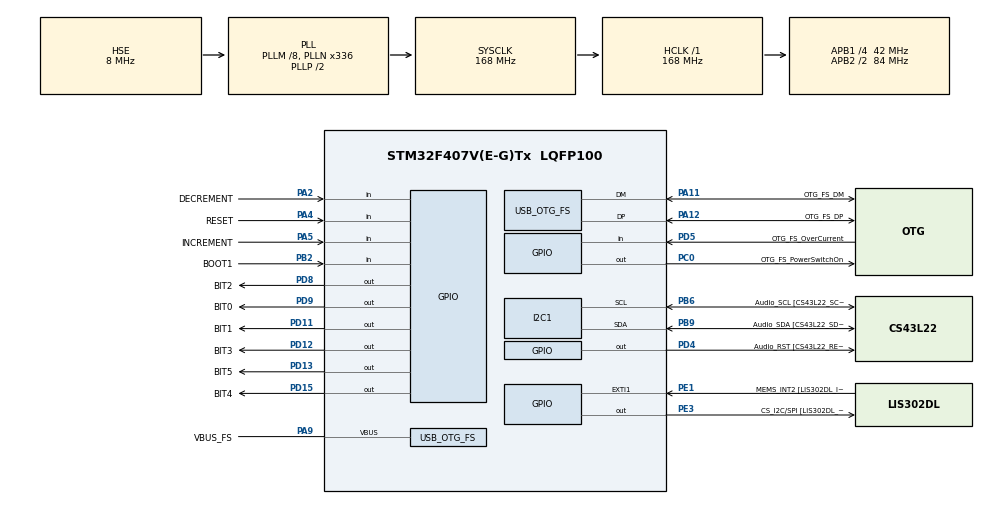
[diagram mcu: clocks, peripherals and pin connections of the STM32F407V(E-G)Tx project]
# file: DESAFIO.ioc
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Mcu.Family=STM32F4
Mcu.Name=STM32F407V(E-G)Tx
Mcu.Package=LQFP100
NVIC.OTG_FS_IRQn=true\:0\:0\:false\:false\:true\:true\:true\:true
NVIC.PriorityGroup=NVIC_PRIORITYGROUP_0
PA10.GPIO_Label=OTG_FS_ID
PA10.GPIO_Mode=GPIO_MODE_AF_PP
PA10.GPIO_PuPd=GPIO_NOPULL
PA10.GPIO_Speed=GPIO_SPEED_FREQ_LOW
PA10.Signal=USB_OTG_FS_ID
PA11.GPIO_Label=OTG_FS_DM
PA11.GPIO_Mode=GPIO_MODE_AF_PP
PA11.GPIO_PuPd=GPIO_NOPULL
PA11.GPIO_Speed=GPIO_SPEED_FREQ_LOW
PA11.Mode=Host_Only
PA11.Signal=USB_OTG_FS_DM
PA12.GPIO_Label=OTG_FS_DP
PA12.GPIO_Mode=GPIO_MODE_AF_PP
PA12.GPIO_PuPd=GPIO_NOPULL
PA12.GPIO_Speed=GPIO_SPEED_FREQ_LOW
PA12.Mode=Host_Only
PA12.Signal=USB_OTG_FS_DP
PA13.GPIO_Label=SWDIO
PA13.Mode=Serial_Wire
PA13.Signal=SYS_JTMS-SWDIO
PA14.GPIO_Label=SWCLK
PA14.Mode=Serial_Wire
PA14.Signal=SYS_JTCK-SWCLK
PA2.GPIO_Label=DECREMENT
PA2.Signal=GPIO_Input
PA4.GPIO_Label=RESET
PA4.Signal=GPIO_Input
PA5.GPIO_Label=INCREMENT
PA5.Signal=GPIO_Input
PA9.GPIO_Label=VBUS_FS
PA9.GPIO_Mode=GPIO_MODE_INPUT
PA9.GPIO_PuPd=GPIO_NOPULL
PA9.Mode=Activate_VBUS
PA9.Signal=USB_OTG_FS_VBUS
PB10.GPIO_Label=CLK_IN [MP45DT02_CLK]
PB10.GPIO_Mode=GPIO_MODE_AF_PP
PB10.GPIO_PuPd=GPIO_NOPULL
PB10.GPIO_Speed=GPIO_SPEED_FREQ_LOW
PB10.Signal=I2S2_CK
PB2.GPIO_Label=BOOT1
PB2.GPIO_Mode=GPIO_MODE_INPUT
PB2.GPIO_PuPd=GPIO_NOPULL
PB2.Signal=GPIO_Input
PB3.GPIO_Label=SWO
PB3.Signal=SYS_JTDO-SWO
PB6.GPIO_Label=Audio_SCL [CS43L22_SCL]
PB6.GPIO_Mode=GPIO_MODE_AF_OD
PB6.GPIO_Pu=GPIO_PULLUP
PB6.GPIO_PuPd=GPIO_NOPULL
PB6.GPIO_Speed=GPIO_SPEED_FREQ_LOW
PB6.Mode=I2C
PB6.Signal=I2C1_SCL
PB9.GPIO_Label=Audio_SDA [CS43L22_SDA]
PB9.GPIO_Mode=GPIO_MODE_AF_OD
PB9.GPIO_Pu=GPIO_PULLUP
PB9.GPIO_PuPd=GPIO_NOPULL
PB9.GPIO_Speed=GPIO_SPEED_FREQ_LOW
PB9.Mode=I2C
PB9.Signal=I2C1_SDA
PC0.GPIO_Label=OTG_FS_PowerSwitchOn
PC0.GPIO_PuPd=GPIO_NOPULL
PC0.GPIO_Speed=GPIO_SPEED_FREQ_LOW
PC0.PinState=GPIO_PIN_SET
PC0.Signal=GPIO_Output
PC10.GPIO_Label=I2S3_SCK [CS43L22_SCLK]
PC10.GPIO_Mode=GPIO_MODE_AF_PP
PC10.GPIO_PuPd=GPIO_NOPULL
PC10.GPIO_Speed=GPIO_SPEED_FREQ_LOW
PC10.Signal=I2S3_CK
PC12.GPIO_Label=I2S3_SD [CS43L22_SDIN]
PC12.GPIO_Mode=GPIO_MODE_AF_PP
PC12.GPIO_PuPd=GPIO_NOPULL
PC12.GPIO_Speed=GPIO_SPEED_FREQ_LOW
PC12.Signal=I2S3_SD
PC14-OSC32_IN.GPIO_Label=PC14-OSC32_IN
PC14-OSC32_IN.Mode=LSE-External-Oscillator
PC14-OSC32_IN.Signal=RCC_OSC32_IN
PC15-OSC32_OUT.GPIO_Label=PC15-OSC32_OUT
PC15-OSC32_OUT.Mode=LSE-External-Oscillator
PC15-OSC32_OUT.Signal=RCC_OSC32_OUT
PC3.GPIO_Label=PDM_OUT [MP45DT02_DOUT]
PC3.GPIO_Mode=GPIO_MODE_AF_PP
PC3.GPIO_PuPd=GPIO_NOPULL
PC3.GPIO_Speed=GPIO_SPEED_FREQ_LOW
PC3.Signal=I2S2_SD
PD11.GPIO_Label=BIT1
PD11.Signal=GPIO_Output
PD12.GPIO_Label=BIT3
PD12.GPIO_PuPd=GPIO_NOPULL
PD12.GPIO_Speed=GPIO_SPEED_FREQ_LOW
PD12.Signal=GPIO_Output
PD13.GPIO_Label=BIT5
PD13.Signal=GPIO_Output
PD15.GPIO_Label=BIT4
PD15.GPIO_PuPd=GPIO_NOPULL
PD15.GPIO_Speed=GPIO_SPEED_FREQ_LOW
PD15.Signal=GPIO_Output
PD4.GPIO_Label=Audio_RST [CS43L22_RESET]
PD4.GPIO_PuPd=GPIO_NOPULL
PD4.GPIO_Speed=GPIO_SPEED_FREQ_LOW
PD4.Signal=GPIO_Output
PD5.GPIO_Label=OTG_FS_OverCurrent
PD5.GPIO_Mode=GPIO_MODE_INPUT
PD5.GPIO_PuPd=GPIO_NOPULL
PD5.Signal=GPIO_Input
PD8.GPIO_Label=BIT2
PD8.Signal=GPIO_Output
PD9.GPIO_Label=BIT0
PD9.Signal=GPIO_Output
PE1.GPIO_Label=MEMS_INT2 [LIS302DL_INT2]
PE1.GPIO_ModeDefaultEXTI=GPIO_MODE_EVT_RISING
PE1.GPIO_PuPd=GPIO_NOPULL
PE1.Signal=GPXTI1
PE3.GPIO_Label=CS_I2C/SPI [LIS302DL_CS_I2C/SPI]
PE3.GPIO_PuPd=GPIO_NOPULL
PE3.GPIO_Speed=GPIO_SPEED_FREQ_LOW
PE3.Signal=GPIO_Output
PH0-OSC_IN.GPIO_Label=PH0-OSC_IN
PH0-OSC_IN.Mode=HSE-External-Oscillator
PH0-OSC_IN.Signal=RCC_OSC_IN
PH1-OSC_OUT.GPIO_Label=PH1-OSC_OUT
PH1-OSC_OUT.Mode=HSE-External-Oscillator
PH1-OSC_OUT.Signal=RCC_OSC_OUT
ProjectManager.HeapSize=0x200
ProjectManager.StackSize=0x400
ProjectManager.TargetToolchain=STM32CubeIDE
RCC.48MHZClocksFreq_Value=48000000
RCC.AHBFreq_Value=168000000
RCC.APB1CLKDivider=RCC_HCLK_DIV4
RCC.APB1Freq_Value=42000000
RCC.APB1TimFreq_Value=84000000
RCC.APB2CLKDivider=RCC_HCLK_DIV2
RCC.APB2Freq_Value=84000000
RCC.APB2TimFreq_Value=168000000
RCC.CortexFreq_Value=168000000
RCC.HCLKFreq_Value=168000000
RCC.HSE_VALUE=8000000
RCC.HSI_VALUE=16000000
RCC.PLLM=8
RCC.PLLN=336
RCC.PLLQ=7
RCC.SYSCLKFreq_VALUE=168000000
RCC.SYSCLKSource=RCC_SYSCLKSOURCE_PLLCLK
RCC.VCOOutputFreq_Value=336000000
USB_HOST.BSP.number=1
USB_HOST.USBH_HandleTypeDef-CDC_FS=hUsbHostFS
USB_HOST.VirtualModeFS=Cdc
USB_HOST0.BSP.STBoard=false
USB_HOST0.BSP.api=Unknown
USB_HOST0.BSP.instance=PC0
USB_HOST0.BSP.ip=GPIO
USB_HOST0.BSP.mode=Output
USB_HOST0.BSP.name=Drive_VBUS_FS
USB_HOST0.BSP.solution=PC0
USB_OTG_FS.VirtualMode=Host_Only
USB_OTG_FS.phy_itface=HCD_PHY_EMBEDDED
VP_USB_HOST_VS_USB_HOST_CDC_FS.Mode=CDC_FS
board=STM32F407G-DISC1

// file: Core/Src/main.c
/* USER CODE BEGIN Header */
/**
 ******************************************************************************
 * @file           : main.c
 * @brief          : Main program body
 ******************************************************************************
 * @attention
 *
 * Copyright (c) 2025 STMicroelectronics.
 * All rights reserved.
 *
 * This software is licensed under terms that can be found in the LICENSE file
 * in the root directory of this software component.
 * If no LICENSE file comes with this software, it is provided AS-IS.
 *
 ******************************************************************************
 */
/* USER CODE END Header */
#include "main.h"
#include "usb_host.h"

/* USER CODE BEGIN Includes */
#include <stdbool.h> // variable booleanas
uint8_t counter = 0;
/* USER CODE END Includes */

/* USER CODE BEGIN PD */
#define TREBOTES 20
#define TSONDEO 200
/* USER CODE END PD */

I2C_HandleTypeDef hi2c1;

void SystemClock_Config(void);
static void MX_GPIO_Init(void);
static void MX_I2C1_Init(void);
void MX_USB_HOST_Process(void);

int main(void) {

	/* MCU Configuration--------------------------------------------------------*/

	/* Reset of all peripherals, Initializes the Flash interface and the Systick. */
	HAL_Init();

	/* Configure the system clock */
	SystemClock_Config();

	/* Initialize all configured peripherals */
	MX_GPIO_Init();
	MX_I2C1_Init();
	MX_USB_HOST_Init();

	/* Infinite loop */
	while (1) {
		MX_USB_HOST_Process();

		/* USER CODE BEGIN 3 */
		if (HAL_GPIO_ReadPin(RESET_GPIO_Port, RESET_Pin) == 1) {
			HAL_Delay(TREBOTES);
			if (HAL_GPIO_ReadPin(DECREMENT_GPIO_Port, DECREMENT_Pin) == 0) {
				HAL_Delay(TREBOTES);
				counter = counter - 1;
				if (counter >= 64) {
					counter = 63;
				}
			}
			if (HAL_GPIO_ReadPin(INCREMENT_GPIO_Port, INCREMENT_Pin) == 0) {
				HAL_Delay(TREBOTES);
				counter = counter + 1;
				if (counter >= 64) {
					counter = 0;
				}
			}

			HAL_GPIO_WritePin(BIT0_GPIO_Port, BIT0_Pin, counter & 1);
			HAL_GPIO_WritePin(BIT1_GPIO_Port, BIT1_Pin, counter & 2);
			HAL_GPIO_WritePin(BIT2_GPIO_Port, BIT2_Pin, counter & 4);
			HAL_GPIO_WritePin(BIT3_GPIO_Port, BIT3_Pin, counter & 8);
			HAL_GPIO_WritePin(BIT4_GPIO_Port, BIT4_Pin, counter & 16);
			HAL_GPIO_WritePin(BIT5_GPIO_Port, BIT5_Pin, counter & 32);
			HAL_Delay(TSONDEO);
		} else {
			counter = 0;
			HAL_GPIO_WritePin(BIT0_GPIO_Port, BIT0_Pin, GPIO_PIN_RESET);
			HAL_GPIO_WritePin(BIT1_GPIO_Port, BIT1_Pin, GPIO_PIN_RESET);
			HAL_GPIO_WritePin(BIT2_GPIO_Port, BIT2_Pin, GPIO_PIN_RESET);
			HAL_GPIO_WritePin(BIT3_GPIO_Port, BIT3_Pin, GPIO_PIN_RESET);
			HAL_GPIO_WritePin(BIT4_GPIO_Port, BIT4_Pin, GPIO_PIN_RESET);
			HAL_GPIO_WritePin(BIT5_GPIO_Port, BIT5_Pin, GPIO_PIN_RESET);
			HAL_Delay(TSONDEO);
		}
	}
	/* USER CODE END 3 */
}

void SystemClock_Config(void) {
	RCC_OscInitTypeDef RCC_OscInitStruct = { 0 };
	RCC_ClkInitTypeDef RCC_ClkInitStruct = { 0 };

	/** Configure the main internal regulator output voltage
	 */
	__HAL_RCC_PWR_CLK_ENABLE();
	__HAL_PWR_VOLTAGESCALING_CONFIG(PWR_REGULATOR_VOLTAGE_SCALE1);

	/** Initializes the RCC Oscillators according to the specified parameters
	 * in the RCC_OscInitTypeDef structure.
	 */
	RCC_OscInitStruct.OscillatorType = RCC_OSCILLATORTYPE_HSE;
	RCC_OscInitStruct.HSEState = RCC_HSE_ON;
	RCC_OscInitStruct.PLL.PLLState = RCC_PLL_ON;
	RCC_OscInitStruct.PLL.PLLSource = RCC_PLLSOURCE_HSE;
	RCC_OscInitStruct.PLL.PLLM = 8;
	RCC_OscInitStruct.PLL.PLLN = 336;
	RCC_OscInitStruct.PLL.PLLP = RCC_PLLP_DIV2;
	RCC_OscInitStruct.PLL.PLLQ = 7;
	if (HAL_RCC_OscConfig(&RCC_OscInitStruct) != HAL_OK) {
		Error_Handler();
	}

	/** Initializes the CPU, AHB and APB buses clocks
	 */
	RCC_ClkInitStruct.ClockType = RCC_CLOCKTYPE_HCLK | RCC_CLOCKTYPE_SYSCLK
			| RCC_CLOCKTYPE_PCLK1 | RCC_CLOCKTYPE_PCLK2;
	RCC_ClkInitStruct.SYSCLKSource = RCC_SYSCLKSOURCE_PLLCLK;
	RCC_ClkInitStruct.AHBCLKDivider = RCC_SYSCLK_DIV1;
	RCC_ClkInitStruct.APB1CLKDivider = RCC_HCLK_DIV4;
	RCC_ClkInitStruct.APB2CLKDivider = RCC_HCLK_DIV2;

	if (HAL_RCC_ClockConfig(&RCC_ClkInitStruct, FLASH_LATENCY_5) != HAL_OK) {
		Error_Handler();
	}
}

static void MX_I2C1_Init(void) {

	hi2c1.Instance = I2C1;
	hi2c1.Init.ClockSpeed = 100000;
	hi2c1.Init.DutyCycle = I2C_DUTYCYCLE_2;
	hi2c1.Init.OwnAddress1 = 0;
	hi2c1.Init.AddressingMode = I2C_ADDRESSINGMODE_7BIT;
	hi2c1.Init.DualAddressMode = I2C_DUALADDRESS_DISABLE;
	hi2c1.Init.OwnAddress2 = 0;
	hi2c1.Init.GeneralCallMode = I2C_GENERALCALL_DISABLE;
	hi2c1.Init.NoStretchMode = I2C_NOSTRETCH_DISABLE;
	if (HAL_I2C_Init(&hi2c1) != HAL_OK) {
		Error_Handler();
	}

}

static void MX_GPIO_Init(void) {
	GPIO_InitTypeDef GPIO_InitStruct = { 0 };

	/* GPIO Ports Clock Enable */
	__HAL_RCC_GPIOE_CLK_ENABLE();
	__HAL_RCC_GPIOC_CLK_ENABLE();
	__HAL_RCC_GPIOH_CLK_ENABLE();
	__HAL_RCC_GPIOA_CLK_ENABLE();
	__HAL_RCC_GPIOB_CLK_ENABLE();
	__HAL_RCC_GPIOD_CLK_ENABLE();

	/*Configure GPIO pin Output Level */
	HAL_GPIO_WritePin(CS_I2C_SPI_GPIO_Port, CS_I2C_SPI_Pin, GPIO_PIN_RESET);

	/*Configure GPIO pin Output Level */
	HAL_GPIO_WritePin(OTG_FS_PowerSwitchOn_GPIO_Port, OTG_FS_PowerSwitchOn_Pin,
			GPIO_PIN_SET);

	/*Configure GPIO pin Output Level */
	HAL_GPIO_WritePin(GPIOD,
			BIT2_Pin | BIT0_Pin | BIT1_Pin | BIT3_Pin | BIT5_Pin | BIT4_Pin
					| Audio_RST_Pin, GPIO_PIN_RESET);

	/*Configure GPIO pin : CS_I2C_SPI_Pin */
	GPIO_InitStruct.Pin = CS_I2C_SPI_Pin;
	GPIO_InitStruct.Mode = GPIO_MODE_OUTPUT_PP;
	GPIO_InitStruct.Pull = GPIO_NOPULL;
	GPIO_InitStruct.Speed = GPIO_SPEED_FREQ_LOW;
	HAL_GPIO_Init(CS_I2C_SPI_GPIO_Port, &GPIO_InitStruct);

	/*Configure GPIO pin : OTG_FS_PowerSwitchOn_Pin */
	GPIO_InitStruct.Pin = OTG_FS_PowerSwitchOn_Pin;
	GPIO_InitStruct.Mode = GPIO_MODE_OUTPUT_PP;
	GPIO_InitStruct.Pull = GPIO_NOPULL;
	GPIO_InitStruct.Speed = GPIO_SPEED_FREQ_LOW;
	HAL_GPIO_Init(OTG_FS_PowerSwitchOn_GPIO_Port, &GPIO_InitStruct);

	/*Configure GPIO pin : PDM_OUT_Pin */
	GPIO_InitStruct.Pin = PDM_OUT_Pin;
	GPIO_InitStruct.Mode = GPIO_MODE_AF_PP;
	GPIO_InitStruct.Pull = GPIO_NOPULL;
	GPIO_InitStruct.Speed = GPIO_SPEED_FREQ_LOW;
	GPIO_InitStruct.Alternate = GPIO_AF5_SPI2;
	HAL_GPIO_Init(PDM_OUT_GPIO_Port, &GPIO_InitStruct);

	/*Configure GPIO pins : DECREMENT_Pin RESET_Pin INCREMENT_Pin */
	GPIO_InitStruct.Pin = DECREMENT_Pin | RESET_Pin | INCREMENT_Pin;
	GPIO_InitStruct.Mode = GPIO_MODE_INPUT;
	GPIO_InitStruct.Pull = GPIO_NOPULL;
	HAL_GPIO_Init(GPIOA, &GPIO_InitStruct);

	/*Configure GPIO pin : BOOT1_Pin */
	GPIO_InitStruct.Pin = BOOT1_Pin;
	GPIO_InitStruct.Mode = GPIO_MODE_INPUT;
	GPIO_InitStruct.Pull = GPIO_NOPULL;
	HAL_GPIO_Init(BOOT1_GPIO_Port, &GPIO_InitStruct);

	/*Configure GPIO pin : CLK_IN_Pin */
	GPIO_InitStruct.Pin = CLK_IN_Pin;
	GPIO_InitStruct.Mode = GPIO_MODE_AF_PP;
	GPIO_InitStruct.Pull = GPIO_NOPULL;
	GPIO_InitStruct.Speed = GPIO_SPEED_FREQ_LOW;
	GPIO_InitStruct.Alternate = GPIO_AF5_SPI2;
	HAL_GPIO_Init(CLK_IN_GPIO_Port, &GPIO_InitStruct);

	/*Configure GPIO pins : BIT2_Pin BIT0_Pin BIT1_Pin BIT3_Pin
	 BIT5_Pin BIT4_Pin Audio_RST_Pin */
	GPIO_InitStruct.Pin = BIT2_Pin | BIT0_Pin | BIT1_Pin | BIT3_Pin | BIT5_Pin
			| BIT4_Pin | Audio_RST_Pin;
	GPIO_InitStruct.Mode = GPIO_MODE_OUTPUT_PP;
	GPIO_InitStruct.Pull = GPIO_NOPULL;
	GPIO_InitStruct.Speed = GPIO_SPEED_FREQ_LOW;
	HAL_GPIO_Init(GPIOD, &GPIO_InitStruct);

	/*Configure GPIO pins : I2S3_SCK_Pin I2S3_SD_Pin */
	GPIO_InitStruct.Pin = I2S3_SCK_Pin | I2S3_SD_Pin;
	GPIO_InitStruct.Mode = GPIO_MODE_AF_PP;
	GPIO_InitStruct.Pull = GPIO_NOPULL;
	GPIO_InitStruct.Speed = GPIO_SPEED_FREQ_LOW;
	GPIO_InitStruct.Alternate = GPIO_AF6_SPI3;
	HAL_GPIO_Init(GPIOC, &GPIO_InitStruct);

	/*Configure GPIO pin : OTG_FS_OverCurrent_Pin */
	GPIO_InitStruct.Pin = OTG_FS_OverCurrent_Pin;
	GPIO_InitStruct.Mode = GPIO_MODE_INPUT;
	GPIO_InitStruct.Pull = GPIO_NOPULL;
	HAL_GPIO_Init(OTG_FS_OverCurrent_GPIO_Port, &GPIO_InitStruct);

	/*Configure GPIO pin : MEMS_INT2_Pin */
	GPIO_InitStruct.Pin = MEMS_INT2_Pin;
	GPIO_InitStruct.Mode = GPIO_MODE_EVT_RISING;
	GPIO_InitStruct.Pull = GPIO_NOPULL;
	HAL_GPIO_Init(MEMS_INT2_GPIO_Port, &GPIO_InitStruct);

}

void Error_Handler(void) {
	__disable_irq();
	while (1) {
	}
}
